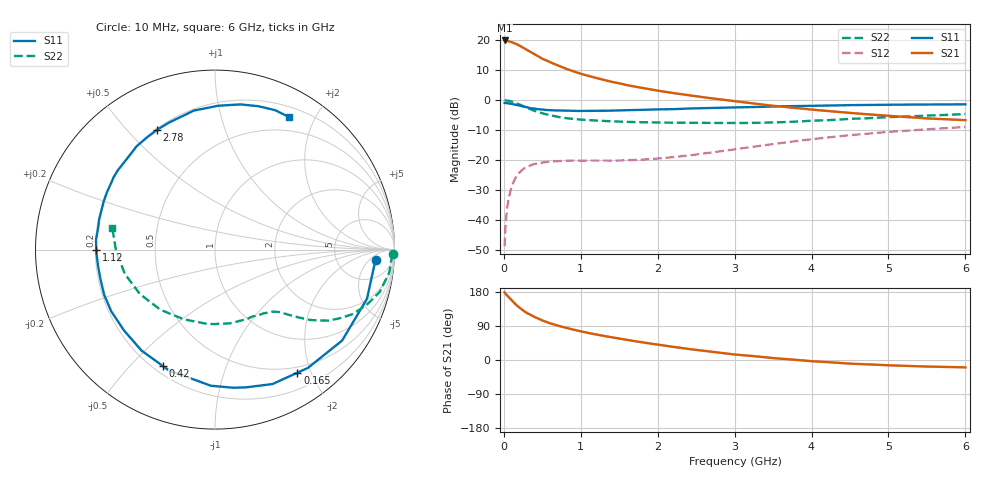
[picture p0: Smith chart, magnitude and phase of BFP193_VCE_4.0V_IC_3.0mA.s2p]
! Infineon Technologies  Discrete & RF Semiconductors
! BFP193
! VCE = 4.0 V,  IC =  3.0 mA
! Common Emitter S-Parameters:  Jan 2016
# GHz  S  MA  R  50
!  f  S11  S21  S12  S22
! GHz  MAG  ANG  MAG  ANG  MAG  ANG  MAG  ANG
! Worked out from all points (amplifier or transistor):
!   210 points, 10 MHz to 6 GHz, reference 50 ohm
!   highest |S21| = 19.8 dB at 10 MHz (marker M1)
!   |S21| within 3 dB of that: start of sweep to 291.5 MHz
!   unconditionally stable (mu >= 1): 1.457 GHz to 3.466 GHz
!   at 185 MHz: K = 0.15, MSG = 21.5 dB, |S12| = -24.7 dB
!   at 1.52 GHz: K = 1.03, MAG = 11.7 dB, |S12| = -20.1 dB
!   at 6 GHz: K = 0.94, MSG = 1.1 dB, |S12| = -9.0 dB
!   S11 on the Smith chart (normalised r, x): 10 MHz: 13, -8; 165 MHz: 0.42, -1.80; 420 MHz: 0.24, -0.62; 1.12 GHz: 0.20, -0.00; 2.78 GHz: 0.21, +0.61; 6 GHz: 0.32, +1.66
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0.01  0.8966 -3.8  9.788 178.7  0.0037 87.8  0.993 -1.5
0.02  0.8891 -7.3  9.657 175.2  0.0072 90.6  0.9851 -2.9
0.04  0.8863 -14.4  9.603 170.8  0.0146 80.8  0.9808 -5.9
0.1  0.871 -35.6  9.229 158.1  0.0356 71.1  0.948 -14.4
0.15  0.8383 -51.8  8.685 147.1  0.0501 62.6  0.897 -20.3
0.165  0.8253 -56.2  8.486 144.7  0.0535 60.3  0.8809 -21.7
0.2  0.8148 -66.8  8.085 138.7  0.0616 55.9  0.8455 -25.2
0.26  0.7763 -82.5  7.296 129.3  0.072 48.3  0.7801 -29.7
0.3  0.7587 -91.8  6.835 123.9  0.0775 44.7  0.7426 -32.2
0.42  0.7111 -114.0  5.583 111.7  0.0874 36.0  0.647 -37.0
0.5  0.6958 -126.0  4.866 104.3  0.0914 31.9  0.5994 -39.1
0.6  0.6782 -138.4  4.259 96.9  0.0947 28.4  0.5579 -41.0
0.7  0.6726 -149.2  3.771 90.6  0.0963 26.0  0.5252 -42.7
1.02  0.658 -173.5  2.687 74.8  0.098 22.6  0.4699 -47.4
1.12  0.6615 -180.0  2.475 70.5  0.0983 22.5  0.4612 -49.1
1.6  0.6758 156.5  1.77 52.9  0.0996 26.7  0.4329 -58.5
2.02  0.6989 140.3  1.419 40.1  0.1069 32.7  0.4222 -68.1
2.78  0.7407 115.9  1.035 19.8  0.1378 41.2  0.415 -90.0
3.1  0.7566 107.5  0.922 12.9  0.1577 42.0  0.4147 -100.7
4.1  0.8042 86.9  0.675 -4.3  0.23 37.1  0.4561 -135.9
5.1  0.8362 71.8  0.535 -14.6  0.3005 25.6  0.5237 -167.9
6  0.8461 60.8  0.462 -19.4  0.3555 13.9  0.5853 168.0
